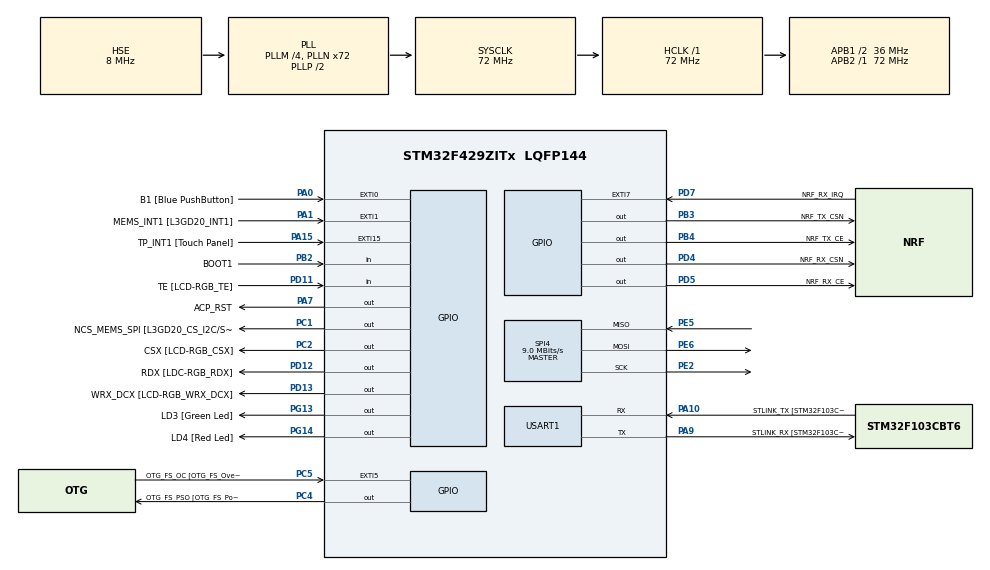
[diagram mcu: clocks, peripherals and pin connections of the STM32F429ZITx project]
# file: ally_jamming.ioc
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Mcu.Family=STM32F4
Mcu.Name=STM32F429ZITx
Mcu.Package=LQFP144
NVIC.EXTI0_IRQn=true\:5\:0\:false\:false\:true\:true\:true\:true
NVIC.PriorityGroup=NVIC_PRIORITYGROUP_4
NVIC.SPI4_IRQn=true\:0\:0\:false\:false\:true\:true\:true\:true
NVIC.TIM6_DAC_IRQn=true\:15\:0\:false\:false\:true\:false\:true\:true
NVIC.TimeBase=TIM6_DAC_IRQn
NVIC.TimeBaseIP=TIM6
NVIC.USART1_IRQn=true\:0\:0\:false\:false\:true\:true\:true\:true
PA0/WKUP.GPIO_Label=B1 [Blue PushButton]
PA0/WKUP.GPIO_ModeDefaultEXTI=GPIO_MODE_IT_RISING
PA0/WKUP.GPIO_PuPd=GPIO_NOPULL
PA0/WKUP.Signal=GPXTI0
PA1.GPIO_Label=MEMS_INT1 [L3GD20_INT1]
PA1.GPIO_ModeDefaultEXTI=GPIO_MODE_EVT_RISING
PA1.GPIO_PuPd=GPIO_NOPULL
PA1.Signal=GPXTI1
PA10.GPIO_Label=STLINK_TX [STM32F103CBT6_PA2]
PA10.Mode=Asynchronous
PA10.Signal=USART1_RX
PA11.GPIO_Label=R4
PA11.GPIO_Mode=GPIO_MODE_AF_PP
PA11.GPIO_PuPd=GPIO_NOPULL
PA11.GPIO_Speed=GPIO_SPEED_FREQ_LOW
PA11.Signal=LTDC_R4
PA12.GPIO_Label=R5
PA12.GPIO_Mode=GPIO_MODE_AF_PP
PA12.GPIO_PuPd=GPIO_NOPULL
PA12.GPIO_Speed=GPIO_SPEED_FREQ_LOW
PA12.Signal=LTDC_R5
PA13.GPIO_Label=SWDIO
PA13.Mode=Serial_Wire
PA13.Signal=SYS_JTMS-SWDIO
PA14.GPIO_Label=SWCLK
PA14.Mode=Serial_Wire
PA14.Signal=SYS_JTCK-SWCLK
PA15.GPIO_Label=TP_INT1 [Touch Panel]
PA15.GPIO_ModeDefaultEXTI=GPIO_MODE_EVT_RISING
PA15.GPIO_PuPd=GPIO_NOPULL
PA15.Signal=GPXTI15
PA3.GPIO_Label=B5
PA3.GPIO_Mode=GPIO_MODE_AF_PP
PA3.GPIO_PuPd=GPIO_NOPULL
PA3.GPIO_Speed=GPIO_SPEED_FREQ_LOW
PA3.Signal=LTDC_B5
PA4.GPIO_Label=VSYNC
PA4.GPIO_Mode=GPIO_MODE_AF_PP
PA4.GPIO_PuPd=GPIO_NOPULL
PA4.GPIO_Speed=GPIO_SPEED_FREQ_LOW
PA4.Signal=LTDC_VSYNC
PA6.GPIO_Label=G2
PA6.GPIO_Mode=GPIO_MODE_AF_PP
PA6.GPIO_PuPd=GPIO_NOPULL
PA6.GPIO_Speed=GPIO_SPEED_FREQ_LOW
PA6.Signal=LTDC_G2
PA7.GPIO_Label=ACP_RST
PA7.GPIO_Mode=GPIO_MODE_OUTPUT_PP
PA7.GPIO_PuPd=GPIO_NOPULL
PA7.GPIO_Speed=GPIO_SPEED_FREQ_LOW
PA7.Signal=GPIO_Output
PA8.GPIO_Label=I2C3_SCL [ACP/RF_SCL]
PA8.GPIO_Mode=GPIO_MODE_AF_OD
PA8.GPIO_Pu=GPIO_PULLUP
PA8.GPIO_PuPd=GPIO_NOPULL
PA8.GPIO_Speed=GPIO_SPEED_FREQ_LOW
PA8.Signal=I2C3_SCL
PA9.GPIO_Label=STLINK_RX [STM32F103CBT6_PA3]
PA9.Mode=Asynchronous
PA9.Signal=USART1_TX
PB0.GPIO_Label=R3
PB0.GPIO_Mode=GPIO_MODE_AF_PP
PB0.GPIO_PuPd=GPIO_NOPULL
PB0.GPIO_Speed=GPIO_SPEED_FREQ_LOW
PB0.Signal=LTDC_R3
PB1.GPIO_Label=R6
PB1.GPIO_Mode=GPIO_MODE_AF_PP
PB1.GPIO_PuPd=GPIO_NOPULL
PB1.GPIO_Speed=GPIO_SPEED_FREQ_LOW
PB1.Signal=LTDC_R6
PB10.GPIO_Label=G4
PB10.GPIO_Mode=GPIO_MODE_AF_PP
PB10.GPIO_PuPd=GPIO_NOPULL
PB10.GPIO_Speed=GPIO_SPEED_FREQ_LOW
PB10.Signal=LTDC_G4
PB11.GPIO_Label=G5
PB11.GPIO_Mode=GPIO_MODE_AF_PP
PB11.GPIO_PuPd=GPIO_NOPULL
PB11.GPIO_Speed=GPIO_SPEED_FREQ_LOW
PB11.Signal=LTDC_G5
PB12.GPIO_Label=OTG_HS_ID
PB12.GPIO_Mode=GPIO_MODE_AF_PP
PB12.GPIO_PuPd=GPIO_NOPULL
PB12.GPIO_Speed=GPIO_SPEED_FREQ_LOW
PB12.Signal=USB_OTG_HS_ID
PB13.GPIO_Label=VBUS_HS
PB13.GPIO_Mode=GPIO_MODE_INPUT
PB13.GPIO_PuPd=GPIO_NOPULL
PB13.Signal=USB_OTG_HS_VBUS
PB14.GPIO_Label=OTG_HS_DM
PB14.GPIO_Mode=GPIO_MODE_AF_PP
PB14.GPIO_PuPd=GPIO_NOPULL
PB14.GPIO_Speed=GPIO_SPEED_FREQ_LOW
PB14.Signal=USB_OTG_HS_DM
PB15.GPIO_Label=OTG_HS_DP
PB15.GPIO_Mode=GPIO_MODE_AF_PP
PB15.GPIO_PuPd=GPIO_NOPULL
PB15.GPIO_Speed=GPIO_SPEED_FREQ_LOW
PB15.Signal=USB_OTG_HS_DP
PB2/BOOT1.GPIO_Label=BOOT1
PB2/BOOT1.GPIO_Mode=GPIO_MODE_INPUT
PB2/BOOT1.GPIO_PuPd=GPIO_NOPULL
PB2/BOOT1.Signal=GPIO_Input
PB3.GPIO_Label=NRF_TX_CSN
PB3.GPIO_Speed=GPIO_SPEED_FREQ_HIGH
PB3.PinState=GPIO_PIN_SET
PB3.Signal=GPIO_Output
PB4.GPIO_Label=NRF_TX_CE
PB4.GPIO_Speed=GPIO_SPEED_FREQ_HIGH
PB4.PinState=GPIO_PIN_RESET
PB4.Signal=GPIO_Output
PB5.GPIO_Label=SDCKE1
PB5.GPIO_Mode=GPIO_MODE_AF_PP
PB5.GPIO_PuPd=GPIO_NOPULL
PB5.GPIO_Speed=GPIO_SPEED_FREQ_VERY_HIGH
PB5.Signal=FMC_SDCKE1
PB6.GPIO_Label=SDNE1 [SDRAM_CS]
PB6.GPIO_Mode=GPIO_MODE_AF_PP
PB6.GPIO_PuPd=GPIO_NOPULL
PB6.GPIO_Speed=GPIO_SPEED_FREQ_VERY_HIGH
PB6.Signal=FMC_SDNE1
PB8.GPIO_Label=B6
PB8.GPIO_Mode=GPIO_MODE_AF_PP
PB8.GPIO_PuPd=GPIO_NOPULL
PB8.GPIO_Speed=GPIO_SPEED_FREQ_LOW
PB8.Signal=LTDC_B6
PB9.GPIO_Label=B7
PB9.GPIO_Mode=GPIO_MODE_AF_PP
PB9.GPIO_PuPd=GPIO_NOPULL
PB9.GPIO_Speed=GPIO_SPEED_FREQ_LOW
PB9.Signal=LTDC_B7
PC0.GPIO_Label=SDNWE
PC0.GPIO_Mode=GPIO_MODE_AF_PP
PC0.GPIO_PuPd=GPIO_NOPULL
PC0.GPIO_Speed=GPIO_SPEED_FREQ_VERY_HIGH
PC0.Signal=FMC_SDNWE
PC1.GPIO_Label=NCS_MEMS_SPI [L3GD20_CS_I2C/SPI]
PC1.GPIO_Mode=GPIO_MODE_OUTPUT_PP
PC1.GPIO_PuPd=GPIO_NOPULL
PC1.GPIO_Speed=GPIO_SPEED_FREQ_LOW
PC1.Signal=GPIO_Output
PC10.GPIO_Label=R2
PC10.GPIO_Mode=GPIO_MODE_AF_PP
PC10.GPIO_PuPd=GPIO_NOPULL
PC10.GPIO_Speed=GPIO_SPEED_FREQ_LOW
PC10.Signal=LTDC_R2
PC14/OSC32_IN.GPIO_Label=PC14-OSC32_IN
PC14/OSC32_IN.Signal=RCC_OSC32_IN
PC15/OSC32_OUT.GPIO_Label=PC15-OSC32_OUT
PC15/OSC32_OUT.Signal=RCC_OSC32_OUT
PC2.GPIO_Label=CSX [LCD-RGB_CSX]
PC2.GPIO_Mode=GPIO_MODE_OUTPUT_PP
PC2.GPIO_PuPd=GPIO_NOPULL
PC2.GPIO_Speed=GPIO_SPEED_FREQ_LOW
PC2.Signal=GPIO_Output
PC4.GPIO_Label=OTG_FS_PSO [OTG_FS_PowerSwitchOn]
PC4.GPIO_Mode=GPIO_MODE_OUTPUT_PP
PC4.GPIO_PuPd=GPIO_NOPULL
PC4.GPIO_Speed=GPIO_SPEED_FREQ_LOW
PC4.Signal=GPIO_Output
PC5.GPIO_Label=OTG_FS_OC [OTG_FS_OverCurrent]
PC5.GPIO_ModeDefaultEXTI=GPIO_MODE_EVT_RISING
PC5.Signal=GPXTI5
PC6.GPIO_Label=HSYNC
PC6.GPIO_Mode=GPIO_MODE_AF_PP
PC6.GPIO_PuPd=GPIO_NOPULL
PC6.GPIO_Speed=GPIO_SPEED_FREQ_LOW
PC6.Signal=LTDC_HSYNC
PC7.GPIO_Label=G6
PC7.GPIO_Mode=GPIO_MODE_AF_PP
PC7.GPIO_PuPd=GPIO_NOPULL
PC7.GPIO_Speed=GPIO_SPEED_FREQ_LOW
PC7.Signal=LTDC_G6
PC9.GPIO_Label=I2C3_SDA [ACP/RF_SDA]
PC9.GPIO_Mode=GPIO_MODE_AF_OD
PC9.GPIO_Pu=GPIO_PULLUP
PC9.GPIO_PuPd=GPIO_NOPULL
PC9.GPIO_Speed=GPIO_SPEED_FREQ_LOW
PC9.Signal=I2C3_SDA
PD0.GPIO_Label=D2
PD0.GPIO_Mode=GPIO_MODE_AF_PP
PD0.GPIO_PuPd=GPIO_NOPULL
PD0.GPIO_Speed=GPIO_SPEED_FREQ_VERY_HIGH
PD0.Signal=FMC_D2_DA2
PD1.GPIO_Label=D3
PD1.GPIO_Mode=GPIO_MODE_AF_PP
PD1.GPIO_PuPd=GPIO_NOPULL
PD1.GPIO_Speed=GPIO_SPEED_FREQ_VERY_HIGH
PD1.Signal=FMC_D3_DA3
PD10.GPIO_Label=D15
PD10.GPIO_Mode=GPIO_MODE_AF_PP
PD10.GPIO_PuPd=GPIO_NOPULL
PD10.GPIO_Speed=GPIO_SPEED_FREQ_VERY_HIGH
PD10.Signal=FMC_D15_DA15
PD11.GPIO_Label=TE [LCD-RGB_TE]
PD11.GPIO_Mode=GPIO_MODE_INPUT
PD11.GPIO_PuPd=GPIO_NOPULL
PD11.Signal=GPIO_Input
PD12.GPIO_Label=RDX [LDC-RGB_RDX]
PD12.GPIO_Mode=GPIO_MODE_OUTPUT_PP
PD12.GPIO_PuPd=GPIO_NOPULL
PD12.GPIO_Speed=GPIO_SPEED_FREQ_LOW
PD12.Signal=GPIO_Output
PD13.GPIO_Label=WRX_DCX [LCD-RGB_WRX_DCX]
PD13.GPIO_Mode=GPIO_MODE_OUTPUT_PP
PD13.GPIO_PuPd=GPIO_NOPULL
PD13.GPIO_Speed=GPIO_SPEED_FREQ_LOW
PD13.Signal=GPIO_Output
PD14.GPIO_Label=D0
PD14.GPIO_Mode=GPIO_MODE_AF_PP
PD14.GPIO_PuPd=GPIO_NOPULL
PD14.GPIO_Speed=GPIO_SPEED_FREQ_VERY_HIGH
PD14.Signal=FMC_D0_DA0
PD15.GPIO_Label=D1
PD15.GPIO_Mode=GPIO_MODE_AF_PP
PD15.GPIO_PuPd=GPIO_NOPULL
PD15.GPIO_Speed=GPIO_SPEED_FREQ_VERY_HIGH
PD15.Signal=FMC_D1_DA1
PD3.GPIO_Label=G7
PD3.GPIO_Mode=GPIO_MODE_AF_PP
PD3.GPIO_PuPd=GPIO_NOPULL
PD3.GPIO_Speed=GPIO_SPEED_FREQ_LOW
PD3.Signal=LTDC_G7
PD4.GPIO_Label=NRF_RX_CSN
PD4.GPIO_Speed=GPIO_SPEED_FREQ_HIGH
PD4.PinState=GPIO_PIN_SET
PD4.Signal=GPIO_Output
PD5.GPIO_Label=NRF_RX_CE
PD5.GPIO_Speed=GPIO_SPEED_FREQ_HIGH
PD5.PinState=GPIO_PIN_RESET
PD5.Signal=GPIO_Output
PD6.GPIO_Label=B2
PD6.GPIO_Mode=GPIO_MODE_AF_PP
PD6.GPIO_PuPd=GPIO_NOPULL
PD6.GPIO_Speed=GPIO_SPEED_FREQ_LOW
PD6.Signal=LTDC_B2
PD7.GPIO_Label=NRF_RX_IRQ
PD7.GPIO_ModeDefaultEXTI=GPIO_MODE_IT_FALLING
PD7.Signal=GPXTI7
PD8.GPIO_Label=D13
PD8.GPIO_Mode=GPIO_MODE_AF_PP
PD8.GPIO_PuPd=GPIO_NOPULL
PD8.GPIO_Speed=GPIO_SPEED_FREQ_VERY_HIGH
PD8.Signal=FMC_D13_DA13
PD9.GPIO_Label=D14
PD9.GPIO_Mode=GPIO_MODE_AF_PP
PD9.GPIO_PuPd=GPIO_NOPULL
PD9.GPIO_Speed=GPIO_SPEED_FREQ_VERY_HIGH
PD9.Signal=FMC_D14_DA14
PE0.GPIO_Label=NBL0 [SDRAM_LDQM]
PE0.GPIO_Mode=GPIO_MODE_AF_PP
PE0.GPIO_PuPd=GPIO_NOPULL
PE0.GPIO_Speed=GPIO_SPEED_FREQ_VERY_HIGH
PE0.Signal=FMC_NBL0
PE1.GPIO_Label=NBL1 [SDRAM_UDQM]
PE1.GPIO_Mode=GPIO_MODE_AF_PP
PE1.GPIO_PuPd=GPIO_NOPULL
PE1.GPIO_Speed=GPIO_SPEED_FREQ_VERY_HIGH
PE1.Signal=FMC_NBL1
PE10.GPIO_Label=D7
PE10.GPIO_Mode=GPIO_MODE_AF_PP
PE10.GPIO_PuPd=GPIO_NOPULL
PE10.GPIO_Speed=GPIO_SPEED_FREQ_VERY_HIGH
PE10.Signal=FMC_D7_DA7
PE11.GPIO_Label=D8
PE11.GPIO_Mode=GPIO_MODE_AF_PP
PE11.GPIO_PuPd=GPIO_NOPULL
PE11.GPIO_Speed=GPIO_SPEED_FREQ_VERY_HIGH
PE11.Signal=FMC_D8_DA8
PE12.GPIO_Label=D9
PE12.GPIO_Mode=GPIO_MODE_AF_PP
PE12.GPIO_PuPd=GPIO_NOPULL
PE12.GPIO_Speed=GPIO_SPEED_FREQ_VERY_HIGH
PE12.Signal=FMC_D9_DA9
PE13.GPIO_Label=D10
PE13.GPIO_Mode=GPIO_MODE_AF_PP
PE13.GPIO_PuPd=GPIO_NOPULL
PE13.GPIO_Speed=GPIO_SPEED_FREQ_VERY_HIGH
PE13.Signal=FMC_D10_DA10
PE14.GPIO_Label=D11
PE14.GPIO_Mode=GPIO_MODE_AF_PP
PE14.GPIO_PuPd=GPIO_NOPULL
PE14.GPIO_Speed=GPIO_SPEED_FREQ_VERY_HIGH
PE14.Signal=FMC_D11_DA11
PE15.GPIO_Label=D12
PE15.GPIO_Mode=GPIO_MODE_AF_PP
PE15.GPIO_PuPd=GPIO_NOPULL
PE15.GPIO_Speed=GPIO_SPEED_FREQ_VERY_HIGH
PE15.Signal=FMC_D12_DA12
PE2.Mode=Full_Duplex_Master
PE2.Signal=SPI4_SCK
PE5.Mode=Full_Duplex_Master
PE5.Signal=SPI4_MISO
PE6.Mode=Full_Duplex_Master
PE6.Signal=SPI4_MOSI
PE7.GPIO_Label=D4
PE7.GPIO_Mode=GPIO_MODE_AF_PP
PE7.GPIO_PuPd=GPIO_NOPULL
PE7.GPIO_Speed=GPIO_SPEED_FREQ_VERY_HIGH
PE7.Signal=FMC_D4_DA4
PE8.GPIO_Label=D5
PE8.GPIO_Mode=GPIO_MODE_AF_PP
PE8.GPIO_PuPd=GPIO_NOPULL
PE8.GPIO_Speed=GPIO_SPEED_FREQ_VERY_HIGH
PE8.Signal=FMC_D5_DA5
PE9.GPIO_Label=D6
PE9.GPIO_Mode=GPIO_MODE_AF_PP
PE9.GPIO_PuPd=GPIO_NOPULL
PE9.GPIO_Speed=GPIO_SPEED_FREQ_VERY_HIGH
PE9.Signal=FMC_D6_DA6
PF0.GPIO_Label=A0
PF0.GPIO_Mode=GPIO_MODE_AF_PP
PF0.GPIO_PuPd=GPIO_NOPULL
PF0.GPIO_Speed=GPIO_SPEED_FREQ_VERY_HIGH
PF0.Signal=FMC_A0
PF1.GPIO_Label=A1
PF1.GPIO_Mode=GPIO_MODE_AF_PP
PF1.GPIO_PuPd=GPIO_NOPULL
PF1.GPIO_Speed=GPIO_SPEED_FREQ_VERY_HIGH
PF1.Signal=FMC_A1
PF10.GPIO_Label=ENABLE [LCD-RGB_ENABLE]
PF10.GPIO_Mode=GPIO_MODE_AF_PP
PF10.GPIO_PuPd=GPIO_NOPULL
PF10.GPIO_Speed=GPIO_SPEED_FREQ_LOW
PF10.Signal=LTDC_DE
PF11.GPIO_Label=SDNRAS
PF11.GPIO_Mode=GPIO_MODE_AF_PP
PF11.GPIO_PuPd=GPIO_NOPULL
PF11.GPIO_Speed=GPIO_SPEED_FREQ_VERY_HIGH
PF11.Signal=FMC_SDNRAS
PF12.GPIO_Label=A6
PF12.GPIO_Mode=GPIO_MODE_AF_PP
PF12.GPIO_PuPd=GPIO_NOPULL
PF12.GPIO_Speed=GPIO_SPEED_FREQ_VERY_HIGH
PF12.Signal=FMC_A6
PF13.GPIO_Label=A7
PF13.GPIO_Mode=GPIO_MODE_AF_PP
PF13.GPIO_PuPd=GPIO_NOPULL
PF13.GPIO_Speed=GPIO_SPEED_FREQ_VERY_HIGH
PF13.Signal=FMC_A7
PF14.GPIO_Label=A8
PF14.GPIO_Mode=GPIO_MODE_AF_PP
PF14.GPIO_PuPd=GPIO_NOPULL
PF14.GPIO_Speed=GPIO_SPEED_FREQ_VERY_HIGH
PF14.Signal=FMC_A8
PF15.GPIO_Label=A9
PF15.GPIO_Mode=GPIO_MODE_AF_PP
PF15.GPIO_PuPd=GPIO_NOPULL
PF15.GPIO_Speed=GPIO_SPEED_FREQ_VERY_HIGH
PF15.Signal=FMC_A9
PF2.GPIO_Label=A2
PF2.GPIO_Mode=GPIO_MODE_AF_PP
PF2.GPIO_PuPd=GPIO_NOPULL
PF2.GPIO_Speed=GPIO_SPEED_FREQ_VERY_HIGH
PF2.Signal=FMC_A2
PF3.GPIO_Label=A3
PF3.GPIO_Mode=GPIO_MODE_AF_PP
PF3.GPIO_PuPd=GPIO_NOPULL
PF3.GPIO_Speed=GPIO_SPEED_FREQ_VERY_HIGH
PF3.Signal=FMC_A3
PF4.GPIO_Label=A4
PF4.GPIO_Mode=GPIO_MODE_AF_PP
PF4.GPIO_PuPd=GPIO_NOPULL
PF4.GPIO_Speed=GPIO_SPEED_FREQ_VERY_HIGH
PF4.Signal=FMC_A4
PF5.GPIO_Label=A5
PF5.GPIO_Mode=GPIO_MODE_AF_PP
PF5.GPIO_PuPd=GPIO_NOPULL
PF5.GPIO_Speed=GPIO_SPEED_FREQ_VERY_HIGH
PF5.Signal=FMC_A5
PF7.GPIO_Label=SPI5_SCK [L3GD20_SCL/SPC]
PF7.GPIO_Mode=GPIO_MODE_AF_PP
PF7.GPIO_PuPd=GPIO_NOPULL
PF7.GPIO_Speed=GPIO_SPEED_FREQ_LOW
PF7.Signal=SPI5_SCK
PF8.GPIO_Label=SPI5_MISO [L3GD20_SDO]
PF8.GPIO_Mode=GPIO_MODE_AF_PP
PF8.GPIO_PuPd=GPIO_NOPULL
PF8.GPIO_Speed=GPIO_SPEED_FREQ_LOW
PF8.Signal=SPI5_MISO
PF9.GPIO_Label=SPI5_MOSI [L3GD20_SDA/SDI/SDO]
PF9.GPIO_Mode=GPIO_MODE_AF_PP
PF9.GPIO_PuPd=GPIO_NOPULL
PF9.GPIO_Speed=GPIO_SPEED_FREQ_LOW
PF9.Signal=SPI5_MOSI
PG0.GPIO_Label=A10
PG0.GPIO_Mode=GPIO_MODE_AF_PP
PG0.GPIO_PuPd=GPIO_NOPULL
PG0.GPIO_Speed=GPIO_SPEED_FREQ_VERY_HIGH
PG0.Signal=FMC_A10
PG1.GPIO_Label=A11
PG1.GPIO_Mode=GPIO_MODE_AF_PP
PG1.GPIO_PuPd=GPIO_NOPULL
PG1.GPIO_Speed=GPIO_SPEED_FREQ_VERY_HIGH
PG1.Signal=FMC_A11
PG10.GPIO_Label=G3
PG10.GPIO_Mode=GPIO_MODE_AF_PP
PG10.GPIO_PuPd=GPIO_NOPULL
PG10.GPIO_Speed=GPIO_SPEED_FREQ_LOW
PG10.Signal=LTDC_G3
PG11.GPIO_Label=B3
PG11.GPIO_Mode=GPIO_MODE_AF_PP
PG11.GPIO_PuPd=GPIO_NOPULL
PG11.GPIO_Speed=GPIO_SPEED_FREQ_LOW
PG11.Signal=LTDC_B3
PG12.GPIO_Label=B4
PG12.GPIO_Mode=GPIO_MODE_AF_PP
PG12.GPIO_PuPd=GPIO_NOPULL
PG12.GPIO_Speed=GPIO_SPEED_FREQ_LOW
PG12.Signal=LTDC_B4
PG13.GPIO_Label=LD3 [Green Led]
PG13.GPIO_Mode=GPIO_MODE_OUTPUT_PP
PG13.GPIO_PuPd=GPIO_NOPULL
PG13.GPIO_Speed=GPIO_SPEED_FREQ_LOW
PG13.PinState=GPIO_PIN_SET
PG13.Signal=GPIO_Output
PG14.GPIO_Label=LD4 [Red Led]
PG14.GPIO_Mode=GPIO_MODE_OUTPUT_PP
PG14.GPIO_PuPd=GPIO_NOPULL
PG14.GPIO_Speed=GPIO_SPEED_FREQ_LOW
PG14.PinState=GPIO_PIN_RESET
PG14.Signal=GPIO_Output
PG15.GPIO_Label=SDNCAS
PG15.GPIO_Mode=GPIO_MODE_AF_PP
PG15.GPIO_PuPd=GPIO_NOPULL
PG15.GPIO_Speed=GPIO_SPEED_FREQ_VERY_HIGH
PG15.Signal=FMC_SDNCAS
PG4.GPIO_Label=BA0
PG4.GPIO_Mode=GPIO_MODE_AF_PP
PG4.GPIO_PuPd=GPIO_NOPULL
PG4.GPIO_Speed=GPIO_SPEED_FREQ_VERY_HIGH
PG4.Signal=FMC_A14_BA0
PG5.GPIO_Label=BA1
PG5.GPIO_Mode=GPIO_MODE_AF_PP
PG5.GPIO_PuPd=GPIO_NOPULL
PG5.GPIO_Speed=GPIO_SPEED_FREQ_VERY_HIGH
PG5.Signal=FMC_A15_BA1
PG6.GPIO_Label=R7
PG6.GPIO_Mode=GPIO_MODE_AF_PP
PG6.GPIO_PuPd=GPIO_NOPULL
PG6.GPIO_Speed=GPIO_SPEED_FREQ_LOW
PG6.Signal=LTDC_R7
PG7.GPIO_Label=DOTCLK [LCT-RGB_DOTCLK]
PG7.GPIO_Mode=GPIO_MODE_AF_PP
PG7.GPIO_PuPd=GPIO_NOPULL
PG7.GPIO_Speed=GPIO_SPEED_FREQ_LOW
PG7.Signal=LTDC_CLK
PG8.GPIO_Label=SDCLK
PG8.GPIO_Mode=GPIO_MODE_AF_PP
PG8.GPIO_PuPd=GPIO_NOPULL
PG8.GPIO_Speed=GPIO_SPEED_FREQ_VERY_HIGH
PG8.Signal=FMC_SDCLK
PH0/OSC_IN.GPIO_Label=PH0-OSC_IN
PH0/OSC_IN.Mode=HSE-External-Oscillator
PH0/OSC_IN.Signal=RCC_OSC_IN
PH1/OSC_OUT.GPIO_Label=PH1-OSC_OUT
PH1/OSC_OUT.Mode=HSE-External-Oscillator
PH1/OSC_OUT.Signal=RCC_OSC_OUT
ProjectManager.HeapSize=0x200
ProjectManager.StackSize=0x400
ProjectManager.TargetToolchain=STM32CubeIDE
RCC.48MHZClocksFreq_Value=48000000
RCC.AHBFreq_Value=72000000
RCC.APB1CLKDivider=RCC_HCLK_DIV2
RCC.APB1Freq_Value=36000000
RCC.APB1TimFreq_Value=72000000
RCC.APB2Freq_Value=72000000
RCC.APB2TimFreq_Value=72000000
RCC.CortexFreq_Value=72000000
RCC.HCLKFreq_Value=72000000
RCC.HSE_VALUE=8000000
RCC.HSI_VALUE=16000000
RCC.LSE_VALUE=32768
RCC.PLLM=4
RCC.PLLN=72
RCC.PLLQ=3
RCC.PLLSAIN=50
RCC.PLLSourceVirtual=RCC_PLLSOURCE_HSE
RCC.SYSCLKFreq_VALUE=72000000
RCC.SYSCLKSource=RCC_SYSCLKSOURCE_PLLCLK
RCC.VCOOutputFreq_Value=144000000
SH.FMC_A0.0=FMC_A0
SH.FMC_A1.0=FMC_A1
SH.FMC_A10.0=FMC_A10
SH.FMC_A11.0=FMC_A11
SH.FMC_A14_BA0.0=FMC_BA0
SH.FMC_A15_BA1.0=FMC_BA1
SH.FMC_A2.0=FMC_A2
SH.FMC_A3.0=FMC_A3
SH.FMC_A4.0=FMC_A4
SH.FMC_A5.0=FMC_A5
SH.FMC_A6.0=FMC_A6
SH.FMC_A7.0=FMC_A7
SH.FMC_A8.0=FMC_A8
SH.FMC_A9.0=FMC_A9
SH.FMC_D0_DA0.0=FMC_D0
SH.FMC_D10_DA10.0=FMC_D10
SH.FMC_D11_DA11.0=FMC_D11
SH.FMC_D12_DA12.0=FMC_D12
SH.FMC_D13_DA13.0=FMC_D13
SH.FMC_D14_DA14.0=FMC_D14
SH.FMC_D15_DA15.0=FMC_D15
SH.FMC_D1_DA1.0=FMC_D1
SH.FMC_D2_DA2.0=FMC_D2
SH.FMC_D3_DA3.0=FMC_D3
SH.FMC_D4_DA4.0=FMC_D4
SH.FMC_D5_DA5.0=FMC_D5
SH.FMC_D6_DA6.0=FMC_D6
SH.FMC_D7_DA7.0=FMC_D7
SH.FMC_D8_DA8.0=FMC_D8
SH.FMC_D9_DA9.0=FMC_D9
SH.FMC_NBL0.0=FMC_NBL0
SH.FMC_NBL1.0=FMC_NBL1
SH.FMC_SDCLK.0=FMC_SDCLK
SH.FMC_SDNCAS.0=FMC_SDNCAS
SH.FMC_SDNRAS.0=FMC_SDNRAS
SH.FMC_SDNWE.0=FMC_SDNWE
SPI4.BaudRatePrescaler=SPI_BAUDRATEPRESCALER_8
SPI4.CalculateBaudRate=9.0 MBits/s
SPI4.Direction=SPI_DIRECTION_2LINES
SPI4.Mode=SPI_MODE_MASTER
SPI4.VirtualType=VM_MASTER
TIM1.Prescaler=71
USART1.VirtualMode=VM_ASYNC
VP_SYS_VS_tim6.Mode=TIM6
VP_TIM1_VS_ClockSourceINT.Mode=Internal
board=STM32F429I-DISC1

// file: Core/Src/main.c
/* USER CODE BEGIN Header */
/**
  ******************************************************************************
  * @file           : main.c
  * @brief          : Main program body
  * @author         : OhReum Yoon and EunHye Kim
  ******************************************************************************
  * @attention
  *
  * Copyright (c) 2026 STMicroelectronics.
  * All rights reserved.
  *
  * This software is licensed under terms that can be found in the LICENSE file
  * in the root directory of this software component.
  * If no LICENSE file comes with this software, it is provided AS-IS.
  *
  ******************************************************************************
  */
/* USER CODE END Header */
#include "main.h"

/* USER CODE BEGIN Includes */
#include <stdio.h>
#include <string.h>
#include "NRF24.h"
#include "NRF24_reg_addresses.h"

/* USER CODE END Includes */

/* USER CODE BEGIN PD */

#define NRF24_CHANNEL_DWELL_MS  2000U

/* USER CODE END PD */

SPI_HandleTypeDef hspi4;

TIM_HandleTypeDef htim1;

UART_HandleTypeDef huart1;

/* USER CODE BEGIN PV */

static volatile uint8_t is_active = 0U; // Modify V9: Button-controlled TX state
static uint8_t carrier_running = 0U; // Modify V10: Fixed carrier state
// Modify V11: 2402, 2411, 2419, 2428, 2437, 2445, 2454, 2463, 2471, 2478 MHz
static const uint8_t sweep_channels[] = { 2U, 11U, 19U, 28U, 37U, 45U, 54U, 63U, 71U, 78U };
static uint8_t sweep_index = 0U;
static uint32_t channel_started_at = 0U;

/* USER CODE END PV */

void SystemClock_Config(void);
static void MX_GPIO_Init(void);
static void MX_TIM1_Init(void);
static void MX_USART1_UART_Init(void);
static void MX_SPI4_Init(void);
/* USER CODE BEGIN PFP */
static void uart_log(const char *message);
static void nrf24_log_state(uint8_t module, const char *name);
/* USER CODE END PFP */

/* USER CODE BEGIN 0 */

// printf
int __io_putchar(int ch)
{
 if ( ch == '\n' )
	 HAL_UART_Transmit(&huart1, (uint8_t*)&"\r", 1, HAL_MAX_DELAY);
 HAL_UART_Transmit(&huart1, (uint8_t*)&ch, 1, HAL_MAX_DELAY);
 return ch;
}
int __io_getchar(void)
{
	uint8_t ch;

	while( HAL_OK != HAL_UART_Receive(&huart1, &ch, 1, HAL_MAX_DELAY) )
	{
		;
	}
	return ch;
}

static void uart_log(const char *message)
{
  HAL_UART_Transmit(&huart1, (uint8_t *)message, strlen(message), 200);
}

static void nrf24_log_state(uint8_t module, const char *name)
{
  char message[96];
  uint8_t status;
  uint8_t config;
  uint8_t channel;

  nrf24_select_module(module);
  status = nrf24_r_status();
  config = nrf24_r_reg(CONFIG, 1);
  channel = nrf24_r_reg(RF_CH, 1);

  snprintf(message, sizeof(message),
           "%s STATUS=0x%02X CONFIG=0x%02X RF_CH=%u\r\n",
           name, status, config, channel);
  uart_log(message);
}

/* USER CODE END 0 */

int main(void)
{

  /* MCU Configuration--------------------------------------------------------*/

  /* Reset of all peripherals, Initializes the Flash interface and the Systick. */
  HAL_Init();

  /* Configure the system clock */
  SystemClock_Config();

  /* Initialize all configured peripherals */
  MX_GPIO_Init();
  MX_TIM1_Init();
  MX_USART1_UART_Init();
  MX_SPI4_Init();
  /* USER CODE BEGIN 2 */
  /* The two radios share SPI4. Both slaves must be de-selected before the
   * first SPI transaction. */
  HAL_GPIO_WritePin(NRF_TX_CSN_GPIO_Port, NRF_TX_CSN_Pin, GPIO_PIN_SET);
  HAL_GPIO_WritePin(NRF_RX_CSN_GPIO_Port, NRF_RX_CSN_Pin, GPIO_PIN_SET);
  HAL_GPIO_WritePin(NRF_TX_CE_GPIO_Port, NRF_TX_CE_Pin, GPIO_PIN_RESET);
  HAL_GPIO_WritePin(NRF_RX_CE_GPIO_Port, NRF_RX_CE_Pin, GPIO_PIN_RESET);
  HAL_Delay(10);

  //uart_log("TX init start\r\n");
  nrf24_select_module(0);
  nrf24_init();
  nrf24_stop_listen();
  nrf24_tx_pwr(_0dbm);  //nrf24_tx_pwr(n18dbm);
  nrf24_data_rate(_1mbps);
  nrf24_set_channel(sweep_channels[0]);
  nrf24_stop_const_carrier();

  /* USER CODE END 2 */

  /* Infinite loop */
  /* USER CODE BEGIN WHILE */
  while (1)
  {
    // Modify V11: Control the carrier sweep and LEDs with the button state
    if (is_active)
    {
      HAL_GPIO_WritePin(LD3_GPIO_Port, LD3_Pin, GPIO_PIN_RESET);
      HAL_GPIO_WritePin(LD4_GPIO_Port, LD4_Pin, GPIO_PIN_SET);

      if (!carrier_running)
      {
        nrf24_select_module(0);
        sweep_index = 0U;
        nrf24_start_const_carrier(sweep_channels[sweep_index]);
        carrier_running = 1U;
        channel_started_at = HAL_GetTick();
        // Modify V12: Print carrier state and channel changes to PuTTY
        uart_log("Jamming ON\r\n");
        printf("Channel : %u MHz\n",
               2400U + sweep_channels[sweep_index]);
      }
      else if ((HAL_GetTick() - channel_started_at) >= NRF24_CHANNEL_DWELL_MS)
      {
        nrf24_stop_const_carrier();

        sweep_index++;
        if (sweep_index >= (sizeof(sweep_channels) / sizeof(sweep_channels[0])))
        {
          sweep_index = 0U;
        }

        nrf24_start_const_carrier(sweep_channels[sweep_index]);
        channel_started_at = HAL_GetTick();
        printf("Channel : %u MHz\n",
               2400U + sweep_channels[sweep_index]);
      }
    }
    else
    {
      if (carrier_running)
      {
        nrf24_select_module(0);
        nrf24_stop_const_carrier();
        carrier_running = 0U;
        uart_log("Jamming OFF\r\n");
      }

      HAL_GPIO_WritePin(LD3_GPIO_Port, LD3_Pin, GPIO_PIN_SET);
      HAL_GPIO_WritePin(LD4_GPIO_Port, LD4_Pin, GPIO_PIN_RESET);
    }

    /* USER CODE END WHILE */

  }
}

void SystemClock_Config(void)
{
  RCC_OscInitTypeDef RCC_OscInitStruct = {0};
  RCC_ClkInitTypeDef RCC_ClkInitStruct = {0};

  /** Configure the main internal regulator output voltage
  */
  __HAL_RCC_PWR_CLK_ENABLE();
  __HAL_PWR_VOLTAGESCALING_CONFIG(PWR_REGULATOR_VOLTAGE_SCALE3);

  /** Initializes the RCC Oscillators according to the specified parameters
  * in the RCC_OscInitTypeDef structure.
  */
  RCC_OscInitStruct.OscillatorType = RCC_OSCILLATORTYPE_HSE;
  RCC_OscInitStruct.HSEState = RCC_HSE_ON;
  RCC_OscInitStruct.PLL.PLLState = RCC_PLL_ON;
  RCC_OscInitStruct.PLL.PLLSource = RCC_PLLSOURCE_HSE;
  RCC_OscInitStruct.PLL.PLLM = 4;
  RCC_OscInitStruct.PLL.PLLN = 72;
  RCC_OscInitStruct.PLL.PLLP = RCC_PLLP_DIV2;
  RCC_OscInitStruct.PLL.PLLQ = 3;
  if (HAL_RCC_OscConfig(&RCC_OscInitStruct) != HAL_OK)
  {
    Error_Handler();
  }

  /** Initializes the CPU, AHB and APB buses clocks
  */
  RCC_ClkInitStruct.ClockType = RCC_CLOCKTYPE_HCLK|RCC_CLOCKTYPE_SYSCLK
                              |RCC_CLOCKTYPE_PCLK1|RCC_CLOCKTYPE_PCLK2;
  RCC_ClkInitStruct.SYSCLKSource = RCC_SYSCLKSOURCE_PLLCLK;
  RCC_ClkInitStruct.AHBCLKDivider = RCC_SYSCLK_DIV1;
  RCC_ClkInitStruct.APB1CLKDivider = RCC_HCLK_DIV2;
  RCC_ClkInitStruct.APB2CLKDivider = RCC_HCLK_DIV1;

  if (HAL_RCC_ClockConfig(&RCC_ClkInitStruct, FLASH_LATENCY_2) != HAL_OK)
  {
    Error_Handler();
  }
}

static void MX_SPI4_Init(void)
{

  /* SPI4 parameter configuration*/
  hspi4.Instance = SPI4;
  hspi4.Init.Mode = SPI_MODE_MASTER;
  hspi4.Init.Direction = SPI_DIRECTION_2LINES;
  hspi4.Init.DataSize = SPI_DATASIZE_8BIT;
  hspi4.Init.CLKPolarity = SPI_POLARITY_LOW;
  hspi4.Init.CLKPhase = SPI_PHASE_1EDGE;
  hspi4.Init.NSS = SPI_NSS_SOFT;
  hspi4.Init.BaudRatePrescaler = SPI_BAUDRATEPRESCALER_8;
  hspi4.Init.FirstBit = SPI_FIRSTBIT_MSB;
  hspi4.Init.TIMode = SPI_TIMODE_DISABLE;
  hspi4.Init.CRCCalculation = SPI_CRCCALCULATION_DISABLE;
  hspi4.Init.CRCPolynomial = 10;
  if (HAL_SPI_Init(&hspi4) != HAL_OK)
  {
    Error_Handler();
  }

}

static void MX_TIM1_Init(void)
{

  TIM_ClockConfigTypeDef sClockSourceConfig = {0};
  TIM_MasterConfigTypeDef sMasterConfig = {0};

  htim1.Instance = TIM1;
  htim1.Init.Prescaler = 71;
  htim1.Init.CounterMode = TIM_COUNTERMODE_UP;
  htim1.Init.Period = 65535;
  htim1.Init.ClockDivision = TIM_CLOCKDIVISION_DIV1;
  htim1.Init.RepetitionCounter = 0;
  htim1.Init.AutoReloadPreload = TIM_AUTORELOAD_PRELOAD_DISABLE;
  if (HAL_TIM_Base_Init(&htim1) != HAL_OK)
  {
    Error_Handler();
  }
  sClockSourceConfig.ClockSource = TIM_CLOCKSOURCE_INTERNAL;
  if (HAL_TIM_ConfigClockSource(&htim1, &sClockSourceConfig) != HAL_OK)
  {
    Error_Handler();
  }
  sMasterConfig.MasterOutputTrigger = TIM_TRGO_RESET;
  sMasterConfig.MasterSlaveMode = TIM_MASTERSLAVEMODE_DISABLE;
  if (HAL_TIMEx_MasterConfigSynchronization(&htim1, &sMasterConfig) != HAL_OK)
  {
    Error_Handler();
  }

}

static void MX_USART1_UART_Init(void)
{

  huart1.Instance = USART1;
  huart1.Init.BaudRate = 115200;
  huart1.Init.WordLength = UART_WORDLENGTH_8B;
  huart1.Init.StopBits = UART_STOPBITS_1;
  huart1.Init.Parity = UART_PARITY_NONE;
  huart1.Init.Mode = UART_MODE_TX_RX;
  huart1.Init.HwFlowCtl = UART_HWCONTROL_NONE;
  huart1.Init.OverSampling = UART_OVERSAMPLING_16;
  if (HAL_UART_Init(&huart1) != HAL_OK)
  {
    Error_Handler();
  }

}

static void MX_GPIO_Init(void)
{
  GPIO_InitTypeDef GPIO_InitStruct = {0};

  /* GPIO Ports Clock Enable */
  __HAL_RCC_GPIOE_CLK_ENABLE();
  __HAL_RCC_GPIOC_CLK_ENABLE();
  __HAL_RCC_GPIOF_CLK_ENABLE();
  __HAL_RCC_GPIOH_CLK_ENABLE();
  __HAL_RCC_GPIOA_CLK_ENABLE();
  __HAL_RCC_GPIOB_CLK_ENABLE();
  __HAL_RCC_GPIOG_CLK_ENABLE();
  __HAL_RCC_GPIOD_CLK_ENABLE();

  /*Configure GPIO pin Output Level */
  HAL_GPIO_WritePin(GPIOC, NCS_MEMS_SPI_Pin|CSX_Pin|OTG_FS_PSO_Pin, GPIO_PIN_RESET);

  /*Configure GPIO pin Output Level */
  HAL_GPIO_WritePin(ACP_RST_GPIO_Port, ACP_RST_Pin, GPIO_PIN_RESET);

  /*Configure GPIO pin Output Level */
  HAL_GPIO_WritePin(GPIOD, RDX_Pin|WRX_DCX_Pin|NRF_RX_CE_Pin, GPIO_PIN_RESET);

  /*Configure GPIO pin Output Level */
  HAL_GPIO_WritePin(NRF_RX_CSN_GPIO_Port, NRF_RX_CSN_Pin, GPIO_PIN_SET);

  /*Configure GPIO pin Output Level */
  HAL_GPIO_WritePin(LD3_GPIO_Port, LD3_Pin, GPIO_PIN_SET);

  /*Configure GPIO pin Output Level */
  HAL_GPIO_WritePin(LD4_GPIO_Port, LD4_Pin, GPIO_PIN_RESET);

  /*Configure GPIO pin Output Level */
  HAL_GPIO_WritePin(NRF_TX_CE_GPIO_Port, NRF_TX_CE_Pin, GPIO_PIN_RESET);

  /*Configure GPIO pin Output Level */
  HAL_GPIO_WritePin(NRF_TX_CSN_GPIO_Port, NRF_TX_CSN_Pin, GPIO_PIN_SET);

  /*Configure GPIO pins : A0_Pin A1_Pin A2_Pin A3_Pin
                           A4_Pin A5_Pin SDNRAS_Pin A6_Pin
                           A7_Pin A8_Pin A9_Pin */
  GPIO_InitStruct.Pin = A0_Pin|A1_Pin|A2_Pin|A3_Pin
                          |A4_Pin|A5_Pin|SDNRAS_Pin|A6_Pin
                          |A7_Pin|A8_Pin|A9_Pin;
  GPIO_InitStruct.Mode = GPIO_MODE_AF_PP;
  GPIO_InitStruct.Pull = GPIO_NOPULL;
  GPIO_InitStruct.Speed = GPIO_SPEED_FREQ_VERY_HIGH;
  GPIO_InitStruct.Alternate = GPIO_AF12_FMC;
  HAL_GPIO_Init(GPIOF, &GPIO_InitStruct);

  /*Configure GPIO pins : SPI5_SCK_Pin SPI5_MISO_Pin SPI5_MOSI_Pin */
  GPIO_InitStruct.Pin = SPI5_SCK_Pin|SPI5_MISO_Pin|SPI5_MOSI_Pin;
  GPIO_InitStruct.Mode = GPIO_MODE_AF_PP;
  GPIO_InitStruct.Pull = GPIO_NOPULL;
  GPIO_InitStruct.Speed = GPIO_SPEED_FREQ_LOW;
  GPIO_InitStruct.Alternate = GPIO_AF5_SPI5;
  HAL_GPIO_Init(GPIOF, &GPIO_InitStruct);

  /*Configure GPIO pin : ENABLE_Pin */
  GPIO_InitStruct.Pin = ENABLE_Pin;
  GPIO_InitStruct.Mode = GPIO_MODE_AF_PP;
  GPIO_InitStruct.Pull = GPIO_NOPULL;
  GPIO_InitStruct.Speed = GPIO_SPEED_FREQ_LOW;
  GPIO_InitStruct.Alternate = GPIO_AF14_LTDC;
  HAL_GPIO_Init(ENABLE_GPIO_Port, &GPIO_InitStruct);

  /*Configure GPIO pin : SDNWE_Pin */
  GPIO_InitStruct.Pin = SDNWE_Pin;
  GPIO_InitStruct.Mode = GPIO_MODE_AF_PP;
  GPIO_InitStruct.Pull = GPIO_NOPULL;
  GPIO_InitStruct.Speed = GPIO_SPEED_FREQ_VERY_HIGH;
  GPIO_InitStruct.Alternate = GPIO_AF12_FMC;
  HAL_GPIO_Init(SDNWE_GPIO_Port, &GPIO_InitStruct);

  /*Configure GPIO pins : NCS_MEMS_SPI_Pin CSX_Pin OTG_FS_PSO_Pin */
  GPIO_InitStruct.Pin = NCS_MEMS_SPI_Pin|CSX_Pin|OTG_FS_PSO_Pin;
  GPIO_InitStruct.Mode = GPIO_MODE_OUTPUT_PP;
  GPIO_InitStruct.Pull = GPIO_NOPULL;
  GPIO_InitStruct.Speed = GPIO_SPEED_FREQ_LOW;
  HAL_GPIO_Init(GPIOC, &GPIO_InitStruct);

  /*Configure GPIO pin : B1_Pin */
  GPIO_InitStruct.Pin = B1_Pin;
  GPIO_InitStruct.Mode = GPIO_MODE_IT_RISING;
  GPIO_InitStruct.Pull = GPIO_NOPULL;
  HAL_GPIO_Init(B1_GPIO_Port, &GPIO_InitStruct);

  /*Configure GPIO pins : MEMS_INT1_Pin TP_INT1_Pin */
  GPIO_InitStruct.Pin = MEMS_INT1_Pin|TP_INT1_Pin;
  GPIO_InitStruct.Mode = GPIO_MODE_EVT_RISING;
  GPIO_InitStruct.Pull = GPIO_NOPULL;
  HAL_GPIO_Init(GPIOA, &GPIO_InitStruct);

  /*Configure GPIO pins : B5_Pin VSYNC_Pin G2_Pin R4_Pin
                           R5_Pin */
  GPIO_InitStruct.Pin = B5_Pin|VSYNC_Pin|G2_Pin|R4_Pin
                          |R5_Pin;
  GPIO_InitStruct.Mode = GPIO_MODE_AF_PP;
  GPIO_InitStruct.Pull = GPIO_NOPULL;
  GPIO_InitStruct.Speed = GPIO_SPEED_FREQ_LOW;
  GPIO_InitStruct.Alternate = GPIO_AF14_LTDC;
  HAL_GPIO_Init(GPIOA, &GPIO_InitStruct);

  /*Configure GPIO pin : ACP_RST_Pin */
  GPIO_InitStruct.Pin = ACP_RST_Pin;
  GPIO_InitStruct.Mode = GPIO_MODE_OUTPUT_PP;
  GPIO_InitStruct.Pull = GPIO_NOPULL;
  GPIO_InitStruct.Speed = GPIO_SPEED_FREQ_LOW;
  HAL_GPIO_Init(ACP_RST_GPIO_Port, &GPIO_InitStruct);

  /*Configure GPIO pin : OTG_FS_OC_Pin */
  GPIO_InitStruct.Pin = OTG_FS_OC_Pin;
  GPIO_InitStruct.Mode = GPIO_MODE_EVT_RISING;
  GPIO_InitStruct.Pull = GPIO_NOPULL;
  HAL_GPIO_Init(OTG_FS_OC_GPIO_Port, &GPIO_InitStruct);

  /*Configure GPIO pins : R3_Pin R6_Pin */
  GPIO_InitStruct.Pin = R3_Pin|R6_Pin;
  GPIO_InitStruct.Mode = GPIO_MODE_AF_PP;
  GPIO_InitStruct.Pull = GPIO_NOPULL;
  GPIO_InitStruct.Speed = GPIO_SPEED_FREQ_LOW;
  GPIO_InitStruct.Alternate = GPIO_AF9_LTDC;
  HAL_GPIO_Init(GPIOB, &GPIO_InitStruct);

  /*Configure GPIO pin : BOOT1_Pin */
  GPIO_InitStruct.Pin = BOOT1_Pin;
  GPIO_InitStruct.Mode = GPIO_MODE_INPUT;
  GPIO_InitStruct.Pull = GPIO_NOPULL;
  HAL_GPIO_Init(BOOT1_GPIO_Port, &GPIO_InitStruct);

  /*Configure GPIO pins : A10_Pin A11_Pin BA0_Pin BA1_Pin
                           SDCLK_Pin SDNCAS_Pin */
  GPIO_InitStruct.Pin = A10_Pin|A11_Pin|BA0_Pin|BA1_Pin
                          |SDCLK_Pin|SDNCAS_Pin;
  GPIO_InitStruct.Mode = GPIO_MODE_AF_PP;
  GPIO_InitStruct.Pull = GPIO_NOPULL;
  GPIO_InitStruct.Speed = GPIO_SPEED_FREQ_VERY_HIGH;
  GPIO_InitStruct.Alternate = GPIO_AF12_FMC;
  HAL_GPIO_Init(GPIOG, &GPIO_InitStruct);

  /*Configure GPIO pins : D4_Pin D5_Pin D6_Pin D7_Pin
                           D8_Pin D9_Pin D10_Pin D11_Pin
                           D12_Pin NBL0_Pin NBL1_Pin */
  GPIO_InitStruct.Pin = D4_Pin|D5_Pin|D6_Pin|D7_Pin
                          |D8_Pin|D9_Pin|D10_Pin|D11_Pin
                          |D12_Pin|NBL0_Pin|NBL1_Pin;
  GPIO_InitStruct.Mode = GPIO_MODE_AF_PP;
  GPIO_InitStruct.Pull = GPIO_NOPULL;
  GPIO_InitStruct.Speed = GPIO_SPEED_FREQ_VERY_HIGH;
  GPIO_InitStruct.Alternate = GPIO_AF12_FMC;
  HAL_GPIO_Init(GPIOE, &GPIO_InitStruct);

  /*Configure GPIO pins : G4_Pin G5_Pin B6_Pin B7_Pin */
  GPIO_InitStruct.Pin = G4_Pin|G5_Pin|B6_Pin|B7_Pin;
  GPIO_InitStruct.Mode = GPIO_MODE_AF_PP;
  GPIO_InitStruct.Pull = GPIO_NOPULL;
  GPIO_InitStruct.Speed = GPIO_SPEED_FREQ_LOW;
  GPIO_InitStruct.Alternate = GPIO_AF14_LTDC;
  HAL_GPIO_Init(GPIOB, &GPIO_InitStruct);

  /*Configure GPIO pins : OTG_HS_ID_Pin OTG_HS_DM_Pin OTG_HS_DP_Pin */
  GPIO_InitStruct.Pin = OTG_HS_ID_Pin|OTG_HS_DM_Pin|OTG_HS_DP_Pin;
  GPIO_InitStruct.Mode = GPIO_MODE_AF_PP;
  GPIO_InitStruct.Pull = GPIO_NOPULL;
  GPIO_InitStruct.Speed = GPIO_SPEED_FREQ_LOW;
  GPIO_InitStruct.Alternate = GPIO_AF12_OTG_HS_FS;
  HAL_GPIO_Init(GPIOB, &GPIO_InitStruct);

  /*Configure GPIO pin : VBUS_HS_Pin */
  GPIO_InitStruct.Pin = VBUS_HS_Pin;
  GPIO_InitStruct.Mode = GPIO_MODE_INPUT;
  GPIO_InitStruct.Pull = GPIO_NOPULL;
  HAL_GPIO_Init(VBUS_HS_GPIO_Port, &GPIO_InitStruct);

  /*Configure GPIO pins : D13_Pin D14_Pin D15_Pin D0_Pin
                           D1_Pin D2_Pin D3_Pin */
  GPIO_InitStruct.Pin = D13_Pin|D14_Pin|D15_Pin|D0_Pin
                          |D1_Pin|D2_Pin|D3_Pin;
  GPIO_InitStruct.Mode = GPIO_MODE_AF_PP;
  GPIO_InitStruct.Pull = GPIO_NOPULL;
  GPIO_InitStruct.Speed = GPIO_SPEED_FREQ_VERY_HIGH;
  GPIO_InitStruct.Alternate = GPIO_AF12_FMC;
  HAL_GPIO_Init(GPIOD, &GPIO_InitStruct);

  /*Configure GPIO pin : TE_Pin */
  GPIO_InitStruct.Pin = TE_Pin;
  GPIO_InitStruct.Mode = GPIO_MODE_INPUT;
  GPIO_InitStruct.Pull = GPIO_NOPULL;
  HAL_GPIO_Init(TE_GPIO_Port, &GPIO_InitStruct);

  /*Configure GPIO pins : RDX_Pin WRX_DCX_Pin */
  GPIO_InitStruct.Pin = RDX_Pin|WRX_DCX_Pin;
  GPIO_InitStruct.Mode = GPIO_MODE_OUTPUT_PP;
  GPIO_InitStruct.Pull = GPIO_NOPULL;
  GPIO_InitStruct.Speed = GPIO_SPEED_FREQ_LOW;
  HAL_GPIO_Init(GPIOD, &GPIO_InitStruct);

  /*Configure GPIO pins : R7_Pin DOTCLK_Pin B3_Pin */
  GPIO_InitStruct.Pin = R7_Pin|DOTCLK_Pin|B3_Pin;
  GPIO_InitStruct.Mode = GPIO_MODE_AF_PP;
  GPIO_InitStruct.Pull = GPIO_NOPULL;
  GPIO_InitStruct.Speed = GPIO_SPEED_FREQ_LOW;
  GPIO_InitStruct.Alternate = GPIO_AF14_LTDC;
  HAL_GPIO_Init(GPIOG, &GPIO_InitStruct);

  /*Configure GPIO pins : HSYNC_Pin G6_Pin R2_Pin */
  GPIO_InitStruct.Pin = HSYNC_Pin|G6_Pin|R2_Pin;
  GPIO_InitStruct.Mode = GPIO_MODE_AF_PP;
  GPIO_InitStruct.Pull = GPIO_NOPULL;
  GPIO_InitStruct.Speed = GPIO_SPEED_FREQ_LOW;
  GPIO_InitStruct.Alternate = GPIO_AF14_LTDC;
  HAL_GPIO_Init(GPIOC, &GPIO_InitStruct);

  /*Configure GPIO pin : I2C3_SDA_Pin */
  GPIO_InitStruct.Pin = I2C3_SDA_Pin;
  GPIO_InitStruct.Mode = GPIO_MODE_AF_OD;
  GPIO_InitStruct.Pull = GPIO_PULLUP;
  GPIO_InitStruct.Speed = GPIO_SPEED_FREQ_LOW;
  GPIO_InitStruct.Alternate = GPIO_AF4_I2C3;
  HAL_GPIO_Init(I2C3_SDA_GPIO_Port, &GPIO_InitStruct);

  /*Configure GPIO pin : I2C3_SCL_Pin */
  GPIO_InitStruct.Pin = I2C3_SCL_Pin;
  GPIO_InitStruct.Mode = GPIO_MODE_AF_OD;
  GPIO_InitStruct.Pull = GPIO_PULLUP;
  GPIO_InitStruct.Speed = GPIO_SPEED_FREQ_LOW;
  GPIO_InitStruct.Alternate = GPIO_AF4_I2C3;
  HAL_GPIO_Init(I2C3_SCL_GPIO_Port, &GPIO_InitStruct);

  /*Configure GPIO pins : G7_Pin B2_Pin */
  GPIO_InitStruct.Pin = G7_Pin|B2_Pin;
  GPIO_InitStruct.Mode = GPIO_MODE_AF_PP;
  GPIO_InitStruct.Pull = GPIO_NOPULL;
  GPIO_InitStruct.Speed = GPIO_SPEED_FREQ_LOW;
  GPIO_InitStruct.Alternate = GPIO_AF14_LTDC;
  HAL_GPIO_Init(GPIOD, &GPIO_InitStruct);

  /*Configure GPIO pins : NRF_RX_CSN_Pin NRF_RX_CE_Pin */
  GPIO_InitStruct.Pin = NRF_RX_CSN_Pin|NRF_RX_CE_Pin;
  GPIO_InitStruct.Mode = GPIO_MODE_OUTPUT_PP;
  GPIO_InitStruct.Pull = GPIO_NOPULL;
  GPIO_InitStruct.Speed = GPIO_SPEED_FREQ_HIGH;
  HAL_GPIO_Init(GPIOD, &GPIO_InitStruct);

  /*Configure GPIO pin : NRF_RX_IRQ_Pin */
  GPIO_InitStruct.Pin = NRF_RX_IRQ_Pin;
  GPIO_InitStruct.Mode = GPIO_MODE_IT_FALLING;
  GPIO_InitStruct.Pull = GPIO_NOPULL;
  HAL_GPIO_Init(NRF_RX_IRQ_GPIO_Port, &GPIO_InitStruct);

  /*Configure GPIO pins : G3_Pin B4_Pin */
  GPIO_InitStruct.Pin = G3_Pin|B4_Pin;
  GPIO_InitStruct.Mode = GPIO_MODE_AF_PP;
  GPIO_InitStruct.Pull = GPIO_NOPULL;
  GPIO_InitStruct.Speed = GPIO_SPEED_FREQ_LOW;
  GPIO_InitStruct.Alternate = GPIO_AF9_LTDC;
  HAL_GPIO_Init(GPIOG, &GPIO_InitStruct);

  /*Configure GPIO pins : LD3_Pin LD4_Pin */
  GPIO_InitStruct.Pin = LD3_Pin|LD4_Pin;
  GPIO_InitStruct.Mode = GPIO_MODE_OUTPUT_PP;
  GPIO_InitStruct.Pull = GPIO_NOPULL;
  GPIO_InitStruct.Speed = GPIO_SPEED_FREQ_LOW;
  HAL_GPIO_Init(GPIOG, &GPIO_InitStruct);

  /*Configure GPIO pins : NRF_TX_CSN_Pin NRF_TX_CE_Pin */
  GPIO_InitStruct.Pin = NRF_TX_CSN_Pin|NRF_TX_CE_Pin;
  GPIO_InitStruct.Mode = GPIO_MODE_OUTPUT_PP;
  GPIO_InitStruct.Pull = GPIO_NOPULL;
  GPIO_InitStruct.Speed = GPIO_SPEED_FREQ_HIGH;
  HAL_GPIO_Init(GPIOB, &GPIO_InitStruct);

  /*Configure GPIO pins : SDCKE1_Pin SDNE1_Pin */
  GPIO_InitStruct.Pin = SDCKE1_Pin|SDNE1_Pin;
  GPIO_InitStruct.Mode = GPIO_MODE_AF_PP;
  GPIO_InitStruct.Pull = GPIO_NOPULL;
  GPIO_InitStruct.Speed = GPIO_SPEED_FREQ_VERY_HIGH;
  GPIO_InitStruct.Alternate = GPIO_AF12_FMC;
  HAL_GPIO_Init(GPIOB, &GPIO_InitStruct);

  /* EXTI interrupt init*/
  HAL_NVIC_SetPriority(EXTI0_IRQn, 5, 0);
  HAL_NVIC_EnableIRQ(EXTI0_IRQn);

}

/* USER CODE BEGIN 4 */

void HAL_GPIO_EXTI_Callback(uint16_t GPIO_Pin)
{
  if (GPIO_Pin == B1_Pin)
  {
    // Modify V9: Toggle the TX state on button press
    is_active = !is_active;
  }
}

/* USER CODE END 4 */

void HAL_TIM_PeriodElapsedCallback(TIM_HandleTypeDef *htim)
{
  if (htim->Instance == TIM6) {
    HAL_IncTick();
  }
}

void Error_Handler(void)
{
  __disable_irq();
  while (1)
  {
  }
}
